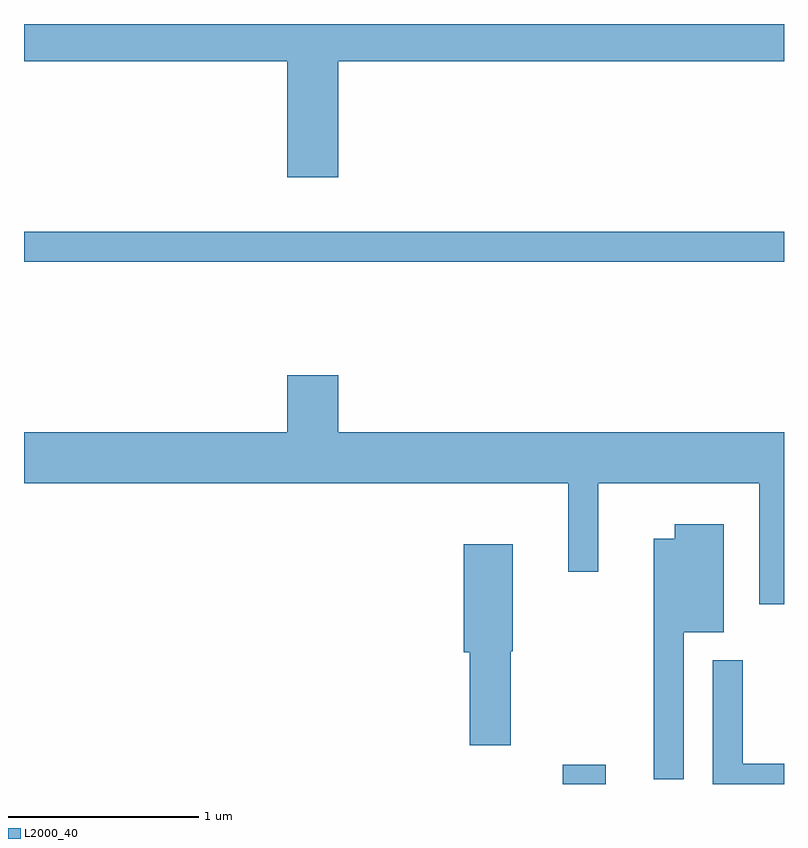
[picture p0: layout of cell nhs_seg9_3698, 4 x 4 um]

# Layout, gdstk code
import gdstk
lib = gdstk.Library(unit=1e-6, precision=1e-09)
def R(c, l, rs):  # rectangles x0, y0, x1, y1
    for r in rs: c.add(gdstk.rectangle(r[:2], r[2:], *l))
def P(c, l, *ps):  # polygons
    for p in ps: c.add(gdstk.Polygon(p, *l))
L2000_40 = (2000, 40)

nhs_seg9_3698 = lib.new_cell('nhs_seg9_3698')
R(nhs_seg9_3698, L2000_40, [(296.446,2012.432,296.674,2012.534), (293.611,2015.181,297.611,2015.339)])
P(nhs_seg9_3698, L2000_40, [(293.611,2016.236),(294.996,2016.236),(294.996,2015.626),(295.264,2015.626),(295.264,2016.236),(297.611,2016.236),(297.611,2016.432),(293.611,2016.432)],
  [(297.611,2014.284),(295.264,2014.284),(295.264,2014.584),(294.996,2014.584),(294.996,2014.284),(293.611,2014.284),(293.611,2014.016),(296.476,2014.016),(296.476,2013.548),(296.634,2013.548),(296.634,2014.016),(297.481,2014.016),(297.481,2013.378),(297.611,2013.378)],
  [(297.084,2013.231),(297.294,2013.231),(297.294,2013.799),(297.036,2013.799),(297.036,2013.724),(296.926,2013.724),(296.926,2012.458),(297.084,2012.458)],
  [(296.174,2013.13),(296.184,2013.13),(296.184,2013.694),(295.926,2013.694),(295.926,2013.126),(295.956,2013.126),(295.956,2012.636),(296.174,2012.636)],
  [(297.611,2012.539),(297.394,2012.539),(297.394,2013.083),(297.236,2013.083),(297.236,2012.432),(297.611,2012.432)])

lib.write_gds('nhs_seg9_3698.gds')
